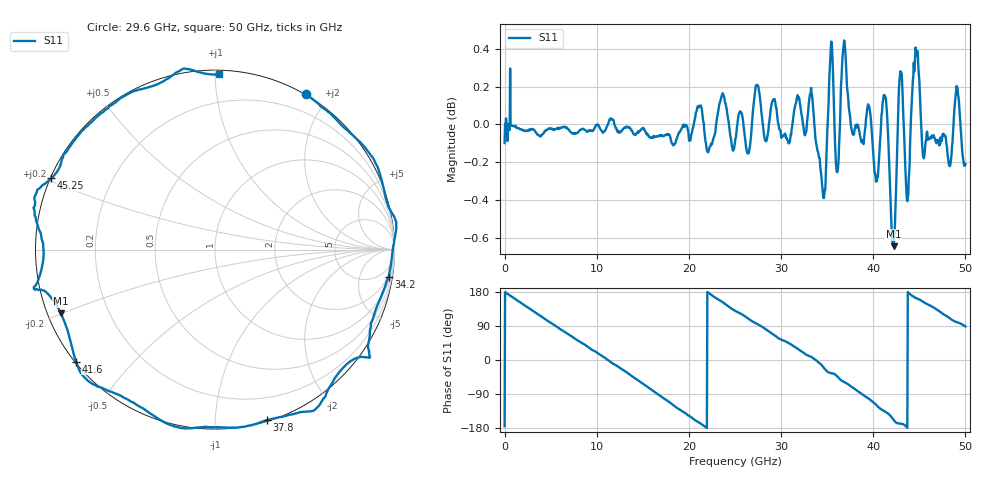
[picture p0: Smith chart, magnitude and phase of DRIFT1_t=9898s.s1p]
!Created with skrf (http://scikit-rf.org).
# Hz S RI R 50.0
!freq ReS11 ImS11
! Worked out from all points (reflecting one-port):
!   1001 points, 300 kHz to 50 GHz, reference 50 ohm
!   lowest |S11| = -0.6 dB at 42.2 GHz (marker M1), VSWR 27.04, Z = 1.92 - j9.92 ohm
!   phase of S11 starts at -175 deg and turns -817 deg over the sweep
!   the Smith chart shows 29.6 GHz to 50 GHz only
!   S11 on the Smith chart (normalised r, x): 29.6 GHz: -0.01, +1.75; 34.2 GHz: 2, -13; 37.8 GHz: 0.01, -1.35; 41.6 GHz: 0.00, -0.35; 45.25 GHz: 0.00, +0.21; 50 GHz: 0.02, +1.02
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300000  -0.9847 -0.0897
1.500291e9  -0.9057 0.4186
3.30028e9  -0.5805 0.8094
6.250262e9  0.2025 0.9774
9.500243e9  0.8921 0.443
1.250022e10  0.9323 -0.3493
1.580021e10  0.2371 -0.9631
1.73502e10  -0.2118 -0.9705
1.875019e10  -0.5981 -0.7921
2.150017e10  -0.9933 -0.1491
2.350016e10  -0.9221 0.4272
2.500015e10  -0.6344 0.7589
2.740014e10  -0.0943 1.02
2.960012e10  0.508 0.8661
3.125011e10  0.7861 0.6196
3.31001e10  1.002 0.177
3.420009e10  0.9679 -0.151
3.520009e10  0.8564 -0.5592
3.750008e10  0.3736 -0.9321
3.780007e10  0.2881 -0.9511
3.955006e10  -0.2193 -0.9871
4.160005e10  -0.7747 -0.6244
4.220005e10  -0.8582 -0.355
4.290004e10  -1.007 -0.2195
4.375004e10  -0.9566 0.00997
4.525003e10  -0.911 0.3988
4.775001e10  -0.4794 0.8701
5e10  0.0229 0.9761
